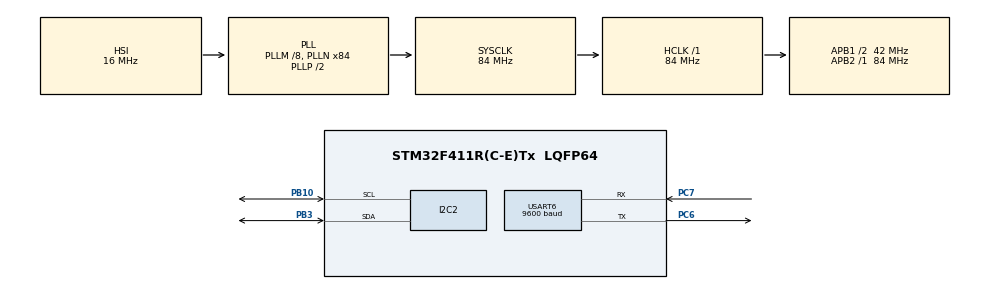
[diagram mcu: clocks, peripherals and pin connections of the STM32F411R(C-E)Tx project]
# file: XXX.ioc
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Dma.Request0=USART6_RX
Dma.USART6_RX.0.Direction=DMA_PERIPH_TO_MEMORY
Dma.USART6_RX.0.FIFOMode=DMA_FIFOMODE_DISABLE
Dma.USART6_RX.0.Instance=DMA2_Stream1
Dma.USART6_RX.0.MemDataAlignment=DMA_MDATAALIGN_BYTE
Dma.USART6_RX.0.MemInc=DMA_MINC_ENABLE
Dma.USART6_RX.0.Mode=DMA_CIRCULAR
Dma.USART6_RX.0.PeriphDataAlignment=DMA_PDATAALIGN_BYTE
Dma.USART6_RX.0.PeriphInc=DMA_PINC_DISABLE
Dma.USART6_RX.0.Priority=DMA_PRIORITY_LOW
Mcu.Family=STM32F4
Mcu.Name=STM32F411R(C-E)Tx
Mcu.Package=LQFP64
NVIC.DMA2_Stream1_IRQn=true\:0\:0\:false\:false\:true\:false\:true
NVIC.PriorityGroup=NVIC_PRIORITYGROUP_4
PB10.Mode=I2C
PB10.Signal=I2C2_SCL
PB3.Mode=I2C
PB3.Signal=I2C2_SDA
PC6.Mode=Asynchronous
PC6.Signal=USART6_TX
PC7.Mode=Asynchronous
PC7.Signal=USART6_RX
ProjectManager.HeapSize=0x200
ProjectManager.StackSize=0x400
ProjectManager.TargetToolchain=STM32CubeIDE
RCC.48MHZClocksFreq_Value=42000000
RCC.AHBFreq_Value=84000000
RCC.APB1CLKDivider=RCC_HCLK_DIV2
RCC.APB1Freq_Value=42000000
RCC.APB1TimFreq_Value=84000000
RCC.APB2Freq_Value=84000000
RCC.APB2TimFreq_Value=84000000
RCC.CortexFreq_Value=84000000
RCC.HCLKFreq_Value=84000000
RCC.HSE_VALUE=25000000
RCC.HSI_VALUE=16000000
RCC.LSE_VALUE=32768
RCC.PLLM=8
RCC.PLLN=84
RCC.SYSCLKFreq_VALUE=84000000
RCC.SYSCLKSource=RCC_SYSCLKSOURCE_PLLCLK
RCC.VCOOutputFreq_Value=168000000
USART6.BaudRate=9600
USART6.VirtualMode=VM_ASYNC
board=custom

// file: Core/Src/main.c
/* USER CODE BEGIN Header */
/**
  ******************************************************************************
  * @file           : main.c
  * @brief          : Main program body
  ******************************************************************************
  * @attention
  *
  * <h2><center>&copy; Copyright (c) 2020 STMicroelectronics.
  * All rights reserved.</center></h2>
  *
  * This software component is licensed by ST under BSD 3-Clause license,
  * the "License"; You may not use this file except in compliance with the
  * License. You may obtain a copy of the License at:
  *                        opensource.org/licenses/BSD-3-Clause
  *
  ******************************************************************************
  */
/* USER CODE END Header */

#include "main.h"

/* USER CODE BEGIN Includes */
#include "stdio.h"
#include "stdlib.h"
#include "math.h"

#include "svm30.h"
#include "sm_uart-04l.h"
/* USER CODE END Includes */

I2C_HandleTypeDef hi2c2;

UART_HandleTypeDef huart6;
DMA_HandleTypeDef hdma_usart6_rx;

void SystemClock_Config(void);
static void MX_GPIO_Init(void);
static void MX_DMA_Init(void);
static void MX_I2C2_Init(void);
static void MX_USART6_UART_Init(void);

/* USER CODE BEGIN 0 */

uint16_t i = 0;
int16_t err;
uint32_t iaq_baseline;

/* USER CODE END 0 */

int main(void)
{

  /* MCU Configuration--------------------------------------------------------*/

  /* Reset of all peripherals, Initializes the Flash interface and the Systick. */
  HAL_Init();

  /* Configure the system clock */
  SystemClock_Config();

  /* Initialize all configured peripherals */
  MX_GPIO_Init();
  MX_DMA_Init();
  MX_I2C2_Init();
  MX_USART6_UART_Init();
  /* USER CODE BEGIN 2 */

  i2c_init_sensirion(&hi2c2);
  SM_UART_04L_Init(&huart6);

  while (svm_probe() != STATUS_OK) {
  		   printf("SVM30 module probing failed\n");
  	  }
  	   printf("SVM30 module probing successful\n");
    err = sgp30_iaq_init();

    // lay gia trij bui
    getPM25();

  /* USER CODE END 2 */

  /* Infinite loop */
  while (1)
  {
	  HAL_Delay(1000);
	  getSVM30();

	  /* Persist the current baseline every hour */
	  if (++i % 3600 == 3599) {
		  err = sgp30_get_iaq_baseline(&iaq_baseline);
		  if (err == STATUS_OK) {
			  /* IMPLEMENT: store baseline to presistent storage */
		  }
	  }
  }
}

void SystemClock_Config(void)
{
  RCC_OscInitTypeDef RCC_OscInitStruct = {0};
  RCC_ClkInitTypeDef RCC_ClkInitStruct = {0};

  /** Configure the main internal regulator output voltage
  */
  __HAL_RCC_PWR_CLK_ENABLE();
  __HAL_PWR_VOLTAGESCALING_CONFIG(PWR_REGULATOR_VOLTAGE_SCALE1);
  /** Initializes the CPU, AHB and APB busses clocks
  */
  RCC_OscInitStruct.OscillatorType = RCC_OSCILLATORTYPE_HSI;
  RCC_OscInitStruct.HSIState = RCC_HSI_ON;
  RCC_OscInitStruct.HSICalibrationValue = RCC_HSICALIBRATION_DEFAULT;
  RCC_OscInitStruct.PLL.PLLState = RCC_PLL_ON;
  RCC_OscInitStruct.PLL.PLLSource = RCC_PLLSOURCE_HSI;
  RCC_OscInitStruct.PLL.PLLM = 8;
  RCC_OscInitStruct.PLL.PLLN = 84;
  RCC_OscInitStruct.PLL.PLLP = RCC_PLLP_DIV2;
  RCC_OscInitStruct.PLL.PLLQ = 4;
  if (HAL_RCC_OscConfig(&RCC_OscInitStruct) != HAL_OK)
  {
    Error_Handler();
  }
  /** Initializes the CPU, AHB and APB busses clocks
  */
  RCC_ClkInitStruct.ClockType = RCC_CLOCKTYPE_HCLK|RCC_CLOCKTYPE_SYSCLK
                              |RCC_CLOCKTYPE_PCLK1|RCC_CLOCKTYPE_PCLK2;
  RCC_ClkInitStruct.SYSCLKSource = RCC_SYSCLKSOURCE_PLLCLK;
  RCC_ClkInitStruct.AHBCLKDivider = RCC_SYSCLK_DIV1;
  RCC_ClkInitStruct.APB1CLKDivider = RCC_HCLK_DIV2;
  RCC_ClkInitStruct.APB2CLKDivider = RCC_HCLK_DIV1;

  if (HAL_RCC_ClockConfig(&RCC_ClkInitStruct, FLASH_LATENCY_2) != HAL_OK)
  {
    Error_Handler();
  }
}

static void MX_I2C2_Init(void)
{

  hi2c2.Instance = I2C2;
  hi2c2.Init.ClockSpeed = 100000;
  hi2c2.Init.DutyCycle = I2C_DUTYCYCLE_2;
  hi2c2.Init.OwnAddress1 = 0;
  hi2c2.Init.AddressingMode = I2C_ADDRESSINGMODE_7BIT;
  hi2c2.Init.DualAddressMode = I2C_DUALADDRESS_DISABLE;
  hi2c2.Init.OwnAddress2 = 0;
  hi2c2.Init.GeneralCallMode = I2C_GENERALCALL_DISABLE;
  hi2c2.Init.NoStretchMode = I2C_NOSTRETCH_DISABLE;
  if (HAL_I2C_Init(&hi2c2) != HAL_OK)
  {
    Error_Handler();
  }

}

static void MX_USART6_UART_Init(void)
{

  huart6.Instance = USART6;
  huart6.Init.BaudRate = 9600;
  huart6.Init.WordLength = UART_WORDLENGTH_8B;
  huart6.Init.StopBits = UART_STOPBITS_1;
  huart6.Init.Parity = UART_PARITY_NONE;
  huart6.Init.Mode = UART_MODE_TX_RX;
  huart6.Init.HwFlowCtl = UART_HWCONTROL_NONE;
  huart6.Init.OverSampling = UART_OVERSAMPLING_16;
  if (HAL_UART_Init(&huart6) != HAL_OK)
  {
    Error_Handler();
  }

}

static void MX_DMA_Init(void)
{

  /* DMA controller clock enable */
  __HAL_RCC_DMA2_CLK_ENABLE();

  /* DMA interrupt init */
  /* DMA2_Stream1_IRQn interrupt configuration */
  HAL_NVIC_SetPriority(DMA2_Stream1_IRQn, 0, 0);
  HAL_NVIC_EnableIRQ(DMA2_Stream1_IRQn);

}

static void MX_GPIO_Init(void)
{

  /* GPIO Ports Clock Enable */
  __HAL_RCC_GPIOB_CLK_ENABLE();
  __HAL_RCC_GPIOC_CLK_ENABLE();

}

void Error_Handler(void)
{
}

/************************ (C) COPYRIGHT STMicroelectronics *****END OF FILE****/
